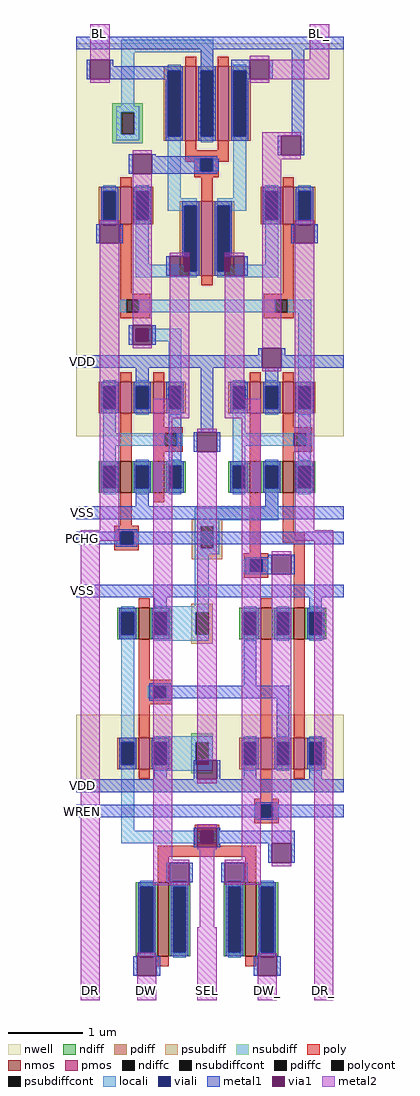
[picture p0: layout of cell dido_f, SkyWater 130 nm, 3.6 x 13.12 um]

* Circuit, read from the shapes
.subckt dido_f BL BL_ DR DR_ DW DW_ PCHG SEL VDD VSS WREN
XM1 VSS PCHG n1 VSS sky130_fd_pr__nfet_01v8 w=0.42 l=0.15
XM2 VSS n2 n3 VSS sky130_fd_pr__nfet_01v8 w=0.42 l=0.15
XM3 n4 n1 VSS VSS sky130_fd_pr__nfet_01v8 w=0.42 l=0.15
XM4 BL n3 DW VSS sky130_fd_pr__nfet_01v8 w=1 l=0.15
XM5 DW_ n3 BL_ VSS sky130_fd_pr__nfet_01v8 w=1 l=0.15
XM6 VSS SEL n5 VSS sky130_fd_pr__nfet_01v8 w=0.42 l=0.15
XM7 n6 WREN n2 VSS sky130_fd_pr__nfet_01v8 w=0.42 l=0.15
XM8 n7 n5 VSS VSS sky130_fd_pr__nfet_01v8 w=0.42 l=0.15
XM9 VSS n5 n6 VSS sky130_fd_pr__nfet_01v8 w=0.42 l=0.15
XM10 VDD PCHG n1 VDD sky130_fd_pr__pfet_01v8 w=0.42 l=0.15
XM11 BL n7 DR VDD sky130_fd_pr__pfet_01v8 w=0.5 l=0.15
XM12 VDD n2 n3 VDD sky130_fd_pr__pfet_01v8 w=0.42 l=0.15
XM13 n4 n1 VDD VDD sky130_fd_pr__pfet_01v8 w=0.42 l=0.15
XM14 VDD n4 BL VDD sky130_fd_pr__pfet_01v8 w=1 l=0.15
XM15 BL_ n4 BL VDD sky130_fd_pr__pfet_01v8 w=1 l=0.15
XM16 BL_ n4 VDD VDD sky130_fd_pr__pfet_01v8 w=1 l=0.15
XM17 VDD SEL n5 VDD sky130_fd_pr__pfet_01v8 w=0.42 l=0.15
XM18 n2 WREN VDD VDD sky130_fd_pr__pfet_01v8 w=0.42 l=0.15
XM19 n7 n5 VDD VDD sky130_fd_pr__pfet_01v8 w=0.42 l=0.15
XM20 DR_ n7 BL_ VDD sky130_fd_pr__pfet_01v8 w=0.5 l=0.15
XM21 VDD n5 n2 VDD sky130_fd_pr__pfet_01v8 w=0.42 l=0.15
.ends

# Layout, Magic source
magic
tech sky130A
magscale 1 2
<< nwell >>
rect 0 1516 720 2572
rect 0 559 720 767
<< nmos >>
rect 119 1364 149 1448
rect 207 1364 237 1448
rect 467 1364 497 1448
rect 555 1364 585 1448
rect 168 970 198 1054
rect 497 970 527 1054
rect 585 970 615 1054
rect 219 117 249 317
rect 455 117 485 317
<< pmos >>
rect 293 2310 323 2510
rect 381 2310 411 2510
rect 119 2086 149 2186
rect 337 1947 367 2147
rect 555 2086 585 2186
rect 119 1578 149 1662
rect 207 1578 237 1662
rect 467 1578 497 1662
rect 555 1578 585 1662
rect 168 621 198 705
rect 497 621 527 705
rect 585 621 615 705
<< ndiff >>
rect 61 1436 119 1448
rect 61 1376 73 1436
rect 107 1376 119 1436
rect 61 1364 119 1376
rect 149 1436 207 1448
rect 149 1376 161 1436
rect 195 1376 207 1436
rect 149 1364 207 1376
rect 237 1436 295 1448
rect 237 1376 249 1436
rect 283 1376 295 1436
rect 237 1364 295 1376
rect 409 1436 467 1448
rect 409 1376 421 1436
rect 455 1376 467 1436
rect 409 1364 467 1376
rect 497 1436 555 1448
rect 497 1376 509 1436
rect 543 1376 555 1436
rect 497 1364 555 1376
rect 585 1436 643 1448
rect 585 1376 597 1436
rect 631 1376 643 1436
rect 585 1364 643 1376
rect 110 1042 168 1054
rect 110 982 122 1042
rect 156 982 168 1042
rect 110 970 168 982
rect 198 1042 256 1054
rect 198 982 210 1042
rect 244 982 256 1042
rect 198 970 256 982
rect 439 1042 497 1054
rect 439 982 451 1042
rect 485 982 497 1042
rect 439 970 497 982
rect 527 1042 585 1054
rect 527 982 539 1042
rect 573 982 585 1042
rect 527 970 585 982
rect 615 1042 673 1054
rect 615 982 627 1042
rect 661 982 673 1042
rect 615 970 673 982
rect 161 305 219 317
rect 161 129 173 305
rect 207 129 219 305
rect 161 117 219 129
rect 249 305 307 317
rect 249 129 261 305
rect 295 129 307 305
rect 249 117 307 129
rect 397 305 455 317
rect 397 129 409 305
rect 443 129 455 305
rect 397 117 455 129
rect 485 305 543 317
rect 485 129 497 305
rect 531 129 543 305
rect 485 117 543 129
<< pdiff >>
rect 235 2498 293 2510
rect 235 2322 247 2498
rect 281 2322 293 2498
rect 235 2310 293 2322
rect 323 2498 381 2510
rect 323 2322 335 2498
rect 369 2322 381 2498
rect 323 2310 381 2322
rect 411 2498 469 2510
rect 411 2322 423 2498
rect 457 2322 469 2498
rect 411 2310 469 2322
rect 61 2174 119 2186
rect 61 2098 73 2174
rect 107 2098 119 2174
rect 61 2086 119 2098
rect 149 2174 207 2186
rect 149 2098 161 2174
rect 195 2098 207 2174
rect 497 2174 555 2186
rect 149 2086 207 2098
rect 279 2135 337 2147
rect 279 1959 291 2135
rect 325 1959 337 2135
rect 279 1947 337 1959
rect 367 2135 425 2147
rect 367 1959 379 2135
rect 413 1959 425 2135
rect 497 2098 509 2174
rect 543 2098 555 2174
rect 497 2086 555 2098
rect 585 2174 643 2186
rect 585 2098 597 2174
rect 631 2098 643 2174
rect 585 2086 643 2098
rect 367 1947 425 1959
rect 61 1650 119 1662
rect 61 1590 73 1650
rect 107 1590 119 1650
rect 61 1578 119 1590
rect 149 1650 207 1662
rect 149 1590 161 1650
rect 195 1590 207 1650
rect 149 1578 207 1590
rect 237 1650 295 1662
rect 237 1590 249 1650
rect 283 1590 295 1650
rect 237 1578 295 1590
rect 409 1650 467 1662
rect 409 1590 421 1650
rect 455 1590 467 1650
rect 409 1578 467 1590
rect 497 1650 555 1662
rect 497 1590 509 1650
rect 543 1590 555 1650
rect 497 1578 555 1590
rect 585 1650 643 1662
rect 585 1590 597 1650
rect 631 1590 643 1650
rect 585 1578 643 1590
rect 110 693 168 705
rect 110 633 122 693
rect 156 633 168 693
rect 110 621 168 633
rect 198 693 256 705
rect 198 633 210 693
rect 244 633 256 693
rect 198 621 256 633
rect 439 693 497 705
rect 439 633 451 693
rect 485 633 497 693
rect 439 621 497 633
rect 527 693 585 705
rect 527 633 539 693
rect 573 633 585 693
rect 527 621 585 633
rect 615 693 673 705
rect 615 633 627 693
rect 661 633 673 693
rect 615 621 673 633
<< ndiffc >>
rect 73 1376 107 1436
rect 161 1376 195 1436
rect 249 1376 283 1436
rect 421 1376 455 1436
rect 509 1376 543 1436
rect 597 1376 631 1436
rect 122 982 156 1042
rect 210 982 244 1042
rect 451 982 485 1042
rect 539 982 573 1042
rect 627 982 661 1042
rect 173 129 207 305
rect 261 129 295 305
rect 409 129 443 305
rect 497 129 531 305
<< pdiffc >>
rect 247 2322 281 2498
rect 335 2322 369 2498
rect 423 2322 457 2498
rect 73 2098 107 2174
rect 161 2098 195 2174
rect 291 1959 325 2135
rect 379 1959 413 2135
rect 509 2098 543 2174
rect 597 2098 631 2174
rect 73 1590 107 1650
rect 161 1590 195 1650
rect 249 1590 283 1650
rect 421 1590 455 1650
rect 509 1590 543 1650
rect 597 1590 631 1650
rect 122 633 156 693
rect 210 633 244 693
rect 451 633 485 693
rect 539 633 573 693
rect 627 633 661 693
<< psubdiff >>
rect 311 1274 393 1293
rect 311 1214 335 1274
rect 369 1214 393 1274
rect 311 1185 393 1214
rect 310 1042 368 1066
rect 310 982 322 1042
rect 356 982 368 1042
rect 310 958 368 982
<< nsubdiff >>
rect 97 2387 179 2411
rect 97 2327 122 2387
rect 156 2327 179 2387
rect 97 2303 179 2327
rect 310 693 368 717
rect 310 633 322 693
rect 356 633 368 693
rect 310 609 368 633
<< psubdiffcont >>
rect 335 1214 369 1274
rect 322 982 356 1042
<< nsubdiffcont >>
rect 122 2327 156 2387
rect 322 633 356 693
<< poly >>
rect 293 2510 323 2536
rect 381 2510 411 2536
rect 293 2284 323 2310
rect 381 2284 411 2310
rect 293 2262 411 2284
rect 293 2254 334 2262
rect 318 2228 334 2254
rect 368 2254 411 2262
rect 368 2228 384 2254
rect 318 2212 384 2228
rect 119 2186 149 2212
rect 337 2147 367 2212
rect 555 2186 585 2212
rect 119 1899 149 2086
rect 337 1921 367 1947
rect 555 1899 585 2086
rect 119 1883 199 1899
rect 119 1849 135 1883
rect 169 1849 199 1883
rect 119 1833 199 1849
rect 505 1883 585 1899
rect 505 1849 535 1883
rect 569 1849 585 1883
rect 505 1833 585 1849
rect 119 1662 149 1688
rect 207 1662 237 1688
rect 467 1662 497 1688
rect 555 1662 585 1688
rect 119 1448 149 1578
rect 207 1540 237 1578
rect 207 1524 287 1540
rect 207 1490 237 1524
rect 271 1490 287 1524
rect 207 1474 287 1490
rect 207 1448 237 1474
rect 467 1448 497 1578
rect 555 1540 585 1578
rect 555 1524 635 1540
rect 555 1490 585 1524
rect 619 1490 635 1524
rect 555 1474 635 1490
rect 555 1448 585 1474
rect 119 1275 149 1364
rect 207 1338 237 1364
rect 103 1259 169 1275
rect 103 1225 119 1259
rect 153 1225 169 1259
rect 103 1209 169 1225
rect 467 1201 497 1364
rect 555 1259 585 1364
rect 555 1229 615 1259
rect 451 1185 517 1201
rect 451 1151 467 1185
rect 501 1151 517 1185
rect 451 1135 517 1151
rect 168 1054 198 1080
rect 497 1054 527 1080
rect 585 1054 615 1229
rect 168 861 198 970
rect 168 845 259 861
rect 168 811 209 845
rect 243 811 259 845
rect 168 795 259 811
rect 168 705 198 795
rect 497 705 527 970
rect 585 705 615 970
rect 168 595 198 621
rect 497 541 527 621
rect 585 595 615 621
rect 479 525 545 541
rect 479 491 495 525
rect 529 491 545 525
rect 479 475 545 491
rect 319 455 385 471
rect 319 421 335 455
rect 369 421 385 455
rect 319 415 385 421
rect 219 385 485 415
rect 219 317 249 385
rect 455 317 485 385
rect 219 91 249 117
rect 455 91 485 117
<< polycont >>
rect 334 2228 368 2262
rect 135 1849 169 1883
rect 535 1849 569 1883
rect 237 1490 271 1524
rect 585 1490 619 1524
rect 119 1225 153 1259
rect 467 1151 501 1185
rect 209 811 243 845
rect 495 491 529 525
rect 335 421 369 455
<< locali >>
rect 122 2548 369 2582
rect 122 2403 156 2548
rect 247 2498 281 2514
rect 108 2387 170 2403
rect 108 2327 122 2387
rect 156 2327 170 2387
rect 108 2311 170 2327
rect 73 2174 107 2190
rect 73 2082 107 2098
rect 161 2174 195 2190
rect 247 2156 281 2322
rect 335 2498 369 2548
rect 335 2306 369 2322
rect 423 2498 457 2514
rect 318 2228 334 2262
rect 368 2228 384 2262
rect 423 2156 457 2322
rect 247 2135 325 2156
rect 247 2122 291 2135
rect 161 1977 195 2098
rect 161 1959 291 1977
rect 161 1943 325 1959
rect 379 2135 457 2156
rect 413 2122 457 2135
rect 509 2174 543 2190
rect 509 1977 543 2098
rect 597 2174 631 2190
rect 597 2082 631 2098
rect 413 1959 543 1977
rect 379 1943 543 1959
rect 119 1849 135 1883
rect 169 1849 535 1883
rect 569 1849 632 1883
rect 195 1771 283 1805
rect 73 1650 107 1666
rect 73 1524 107 1590
rect 161 1650 195 1666
rect 161 1574 195 1590
rect 249 1650 283 1771
rect 597 1666 632 1849
rect 249 1574 283 1590
rect 421 1650 455 1666
rect 421 1524 455 1590
rect 509 1650 543 1666
rect 509 1574 543 1590
rect 597 1650 631 1666
rect 597 1574 631 1590
rect 73 1490 237 1524
rect 271 1490 287 1524
rect 421 1490 585 1524
rect 619 1490 635 1524
rect 73 1436 107 1490
rect 73 1360 107 1376
rect 161 1436 195 1452
rect 161 1360 195 1376
rect 249 1436 283 1452
rect 249 1360 283 1376
rect 421 1436 455 1490
rect 421 1360 455 1376
rect 509 1436 543 1452
rect 509 1324 543 1376
rect 597 1436 631 1452
rect 597 1360 631 1376
rect 319 1290 544 1324
rect 319 1274 385 1290
rect 103 1225 119 1259
rect 153 1225 169 1259
rect 319 1214 335 1274
rect 369 1214 385 1274
rect 319 1198 385 1214
rect 319 1058 356 1198
rect 451 1151 467 1185
rect 501 1151 517 1185
rect 122 1042 156 1058
rect 122 693 156 982
rect 210 1042 356 1058
rect 244 982 322 1042
rect 210 966 356 982
rect 451 1042 485 1058
rect 451 966 485 982
rect 539 1042 573 1058
rect 539 966 573 982
rect 627 1042 661 1058
rect 627 966 661 982
rect 193 811 209 845
rect 243 811 259 845
rect 122 455 156 633
rect 210 693 368 709
rect 244 633 322 693
rect 356 633 368 693
rect 210 617 368 633
rect 451 693 485 709
rect 451 617 485 633
rect 539 693 573 709
rect 539 617 573 633
rect 627 693 661 709
rect 627 617 661 633
rect 479 491 495 525
rect 529 491 545 525
rect 122 421 335 455
rect 369 421 385 455
rect 173 305 207 321
rect 173 113 207 129
rect 261 305 295 321
rect 261 113 295 129
rect 409 305 443 321
rect 409 113 443 129
rect 497 305 531 321
rect 497 113 531 129
<< viali >>
rect 247 2322 281 2498
rect 73 2098 107 2174
rect 161 2098 195 2174
rect 335 2322 369 2498
rect 423 2322 457 2498
rect 334 2228 368 2262
rect 291 1959 325 2135
rect 379 1959 413 2135
rect 509 2098 543 2174
rect 597 2098 631 2174
rect 161 1771 195 1805
rect 73 1590 107 1650
rect 161 1590 195 1650
rect 249 1590 283 1650
rect 421 1590 455 1650
rect 509 1590 543 1650
rect 597 1590 631 1650
rect 73 1376 107 1436
rect 161 1376 195 1436
rect 249 1376 283 1436
rect 421 1376 455 1436
rect 509 1376 543 1436
rect 597 1376 631 1436
rect 119 1225 153 1259
rect 467 1151 501 1185
rect 122 982 156 1042
rect 210 982 244 1042
rect 451 982 485 1042
rect 539 982 573 1042
rect 627 982 661 1042
rect 209 811 243 845
rect 122 633 156 693
rect 210 633 244 693
rect 451 633 485 693
rect 539 633 573 693
rect 627 633 661 693
rect 495 491 529 525
rect 173 129 207 305
rect 261 129 295 305
rect 409 129 443 305
rect 497 129 531 305
<< metal1 >>
rect 0 2556 720 2590
rect 28 2476 38 2528
rect 90 2510 100 2528
rect 335 2510 369 2556
rect 90 2498 287 2510
rect 90 2476 247 2498
rect 241 2322 247 2476
rect 281 2322 287 2498
rect 241 2310 287 2322
rect 329 2498 375 2510
rect 329 2322 335 2498
rect 369 2322 375 2498
rect 329 2310 375 2322
rect 417 2498 467 2528
rect 417 2322 423 2498
rect 457 2476 467 2498
rect 519 2476 529 2528
rect 457 2322 463 2476
rect 580 2323 614 2556
rect 417 2310 463 2322
rect 142 2222 152 2274
rect 204 2268 214 2274
rect 542 2271 552 2323
rect 604 2271 614 2323
rect 204 2262 380 2268
rect 204 2228 334 2262
rect 368 2228 384 2262
rect 204 2222 380 2228
rect 67 2174 113 2186
rect 67 2098 73 2174
rect 107 2098 113 2174
rect 67 2086 113 2098
rect 155 2174 201 2186
rect 155 2098 161 2174
rect 195 2098 201 2174
rect 503 2174 549 2186
rect 155 2086 201 2098
rect 285 2135 331 2147
rect 54 2034 64 2086
rect 116 2034 126 2086
rect 285 1999 291 2135
rect 242 1947 252 1999
rect 325 1959 331 2135
rect 304 1947 331 1959
rect 373 2135 419 2147
rect 373 1959 379 2135
rect 413 1999 419 2135
rect 503 2098 509 2174
rect 543 2098 549 2174
rect 503 2086 549 2098
rect 591 2174 637 2186
rect 591 2098 597 2174
rect 631 2098 637 2174
rect 591 2086 637 2098
rect 578 2034 588 2086
rect 640 2034 650 2086
rect 373 1947 400 1959
rect 452 1947 462 1999
rect 142 1762 152 1814
rect 204 1762 214 1814
rect 490 1734 500 1752
rect 0 1700 500 1734
rect 552 1734 562 1752
rect 552 1700 720 1734
rect 161 1662 195 1700
rect 67 1650 113 1662
rect 67 1590 73 1650
rect 107 1590 113 1650
rect 67 1578 113 1590
rect 155 1650 201 1662
rect 155 1590 161 1650
rect 195 1590 201 1650
rect 155 1578 201 1590
rect 243 1650 289 1662
rect 243 1590 249 1650
rect 283 1590 289 1650
rect 243 1578 289 1590
rect 249 1448 283 1578
rect 335 1526 369 1700
rect 509 1662 543 1700
rect 415 1650 461 1662
rect 415 1590 421 1650
rect 455 1590 461 1650
rect 415 1578 461 1590
rect 503 1650 549 1662
rect 503 1590 509 1650
rect 543 1590 549 1650
rect 503 1578 549 1590
rect 591 1650 637 1662
rect 591 1590 597 1650
rect 631 1590 637 1650
rect 591 1578 637 1590
rect 316 1474 326 1526
rect 378 1474 388 1526
rect 597 1448 631 1578
rect 67 1436 113 1448
rect 67 1376 73 1436
rect 107 1376 113 1436
rect 67 1364 113 1376
rect 155 1436 201 1448
rect 155 1376 161 1436
rect 195 1376 201 1436
rect 155 1364 201 1376
rect 243 1436 289 1448
rect 243 1376 249 1436
rect 283 1376 289 1436
rect 243 1364 289 1376
rect 415 1436 461 1448
rect 415 1376 421 1436
rect 455 1376 461 1436
rect 415 1364 461 1376
rect 503 1436 549 1448
rect 503 1376 509 1436
rect 543 1376 549 1436
rect 503 1364 549 1376
rect 591 1436 637 1448
rect 591 1376 597 1436
rect 631 1376 637 1436
rect 591 1364 637 1376
rect 161 1327 195 1364
rect 509 1327 543 1364
rect 0 1293 720 1327
rect 107 1259 165 1265
rect 0 1225 119 1259
rect 153 1225 720 1259
rect 107 1219 165 1225
rect 516 1191 526 1197
rect 455 1185 526 1191
rect 455 1151 467 1185
rect 501 1151 526 1185
rect 455 1145 526 1151
rect 578 1145 588 1197
rect 0 1083 720 1117
rect 210 1054 244 1083
rect 627 1054 661 1083
rect 116 1042 162 1054
rect 116 982 122 1042
rect 156 982 162 1042
rect 116 970 162 982
rect 204 1042 250 1054
rect 204 982 210 1042
rect 244 982 250 1042
rect 204 970 250 982
rect 445 1042 491 1054
rect 445 982 451 1042
rect 485 982 491 1042
rect 445 970 491 982
rect 533 1042 579 1054
rect 533 982 539 1042
rect 573 982 579 1042
rect 533 970 579 982
rect 621 1042 667 1054
rect 621 982 627 1042
rect 661 982 667 1042
rect 621 970 667 982
rect 197 845 255 851
rect 451 845 485 970
rect 197 811 209 845
rect 243 811 573 845
rect 197 805 255 811
rect 539 705 573 811
rect 116 693 162 705
rect 116 633 122 693
rect 156 633 162 693
rect 116 621 162 633
rect 204 693 250 705
rect 204 633 210 693
rect 244 633 250 693
rect 445 693 491 705
rect 204 621 250 633
rect 210 593 244 621
rect 316 593 326 645
rect 378 593 388 645
rect 445 633 451 693
rect 485 633 491 693
rect 445 621 491 633
rect 533 693 579 705
rect 533 633 539 693
rect 573 633 579 693
rect 533 621 579 633
rect 621 693 667 705
rect 621 633 627 693
rect 661 633 667 693
rect 621 621 667 633
rect 451 593 485 621
rect 627 593 661 621
rect 0 559 720 593
rect 483 525 541 531
rect 0 491 495 525
rect 529 491 720 525
rect 483 485 541 491
rect 316 411 326 463
rect 378 455 388 463
rect 378 421 588 455
rect 378 411 388 421
rect 516 369 526 421
rect 578 369 588 421
rect 242 317 252 369
rect 304 317 314 369
rect 390 317 400 369
rect 452 317 462 369
rect 167 305 213 317
rect 167 129 173 305
rect 207 129 213 305
rect 167 117 213 129
rect 255 305 301 317
rect 255 129 261 305
rect 295 129 301 305
rect 255 117 301 129
rect 403 305 449 317
rect 403 129 409 305
rect 443 129 449 305
rect 403 117 449 129
rect 491 305 537 317
rect 491 129 497 305
rect 531 129 537 305
rect 491 117 537 129
rect 154 65 164 117
rect 216 65 226 117
rect 478 65 488 117
rect 540 65 550 117
<< via1 >>
rect 38 2476 90 2528
rect 467 2476 519 2528
rect 152 2222 204 2274
rect 552 2271 604 2323
rect 64 2034 116 2086
rect 252 1959 291 1999
rect 291 1959 304 1999
rect 252 1947 304 1959
rect 588 2034 640 2086
rect 400 1959 413 1999
rect 413 1959 452 1999
rect 400 1947 452 1959
rect 152 1805 204 1814
rect 152 1771 161 1805
rect 161 1771 195 1805
rect 195 1771 204 1805
rect 152 1762 204 1771
rect 500 1700 552 1752
rect 326 1474 378 1526
rect 526 1145 578 1197
rect 326 593 378 645
rect 326 411 378 463
rect 526 369 578 421
rect 252 317 304 369
rect 400 317 452 369
rect 164 65 216 117
rect 488 65 540 117
<< metal2 >>
rect 38 2528 90 2624
rect 38 2466 90 2476
rect 467 2528 519 2538
rect 628 2528 680 2624
rect 519 2476 680 2528
rect 467 2466 519 2476
rect 500 2323 604 2333
rect 152 2274 204 2284
rect 64 2086 116 2096
rect 64 1263 116 2034
rect 152 1814 204 2222
rect 500 2271 552 2323
rect 500 2261 604 2271
rect 152 1752 204 1762
rect 252 1999 304 2009
rect 252 1616 304 1947
rect 12 1235 116 1263
rect 207 1564 304 1616
rect 400 1999 452 2009
rect 400 1616 452 1947
rect 500 1752 552 2261
rect 500 1690 552 1700
rect 588 2086 640 2096
rect 400 1564 497 1616
rect 12 0 64 1235
rect 207 377 259 1564
rect 326 1526 378 1536
rect 326 645 378 1474
rect 326 583 378 593
rect 326 463 378 473
rect 326 405 378 411
rect 207 369 304 377
rect 207 317 252 369
rect 207 309 304 317
rect 332 195 372 405
rect 445 377 497 1564
rect 588 1263 640 2034
rect 588 1235 692 1263
rect 400 369 497 377
rect 452 317 497 369
rect 526 1197 578 1207
rect 526 421 578 1145
rect 526 359 578 369
rect 400 310 497 317
rect 164 117 216 127
rect 164 0 216 65
rect 326 0 378 195
rect 488 117 540 126
rect 488 0 540 65
rect 640 0 692 1235
<< labels >>
rlabel metal1 1 491 35 525 0 WREN
rlabel metal1 1 559 35 593 0 VDD
rlabel metal1 1 1083 35 1117 0 VSS
rlabel metal1 1 1225 35 1259 0 PCHG
rlabel metal1 1 1293 35 1327 0 VSS
rlabel metal1 0 1700 34 1734 0 VDD
rlabel metal2 640 0 692 52 0 DR_
rlabel metal2 488 0 540 52 0 DW_
rlabel metal2 326 0 378 52 0 SEL
rlabel metal2 164 0 216 52 0 DW
rlabel metal2 12 0 64 52 0 DR
rlabel metal2 628 2572 680 2624 0 BL_
rlabel metal2 38 2572 90 2624 0 BL
<< end >>
